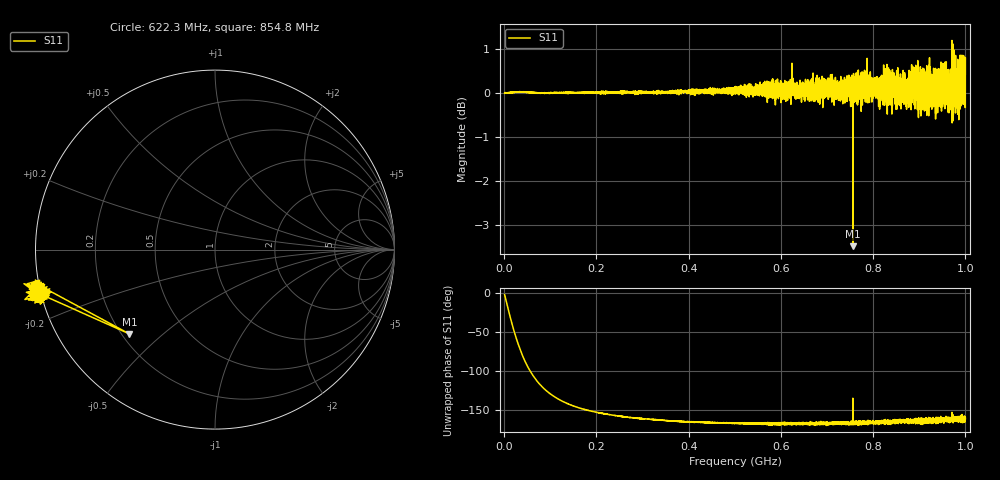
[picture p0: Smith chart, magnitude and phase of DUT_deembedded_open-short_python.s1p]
! ListType=Lin
!Created with skrf (http://scikit-rf.org).
# MHz S RI R 50.0
!freq ReS11 ImS11
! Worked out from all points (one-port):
!   8001 points, 1 MHz to 1 GHz, reference 50 ohm
!   lowest |S11| = -3.5 dB at 756 MHz (marker M1), VSWR 5.05, Z = 11.5 - j19.6 ohm
!   |S11| at or under -10 dB: nowhere
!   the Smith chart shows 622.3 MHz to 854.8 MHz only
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1  0.9993 -0.0427
4.4965  0.9818 -0.1902
10.24075  0.9092 -0.4177
15.985  0.7922 -0.6123
21.4795  0.6535 -0.7592
29.971  0.4201 -0.9097
39.33662  0.173 -0.9878
47.07887  -0.00577 -1.002
56.56938  -0.1871 -0.9846
65.68525  -0.3265 -0.947
75.30062  -0.4432 -0.8967
85.79013  -0.5424 -0.8409
97.77813  -0.6278 -0.7792
125.875  -0.7574 -0.6524
176.3245  -0.8678 -0.4957
250.75  -0.9311 -0.365
375.625  -0.971 -0.2595
500.5  -0.9912 -0.2254
625.375  -0.9795 -0.1979
750.25  -0.9923 -0.1988
755.9942  -0.477 -0.4698
875.125  -0.9853 -0.244
888.4866  -0.9967 -0.2526
923.7014  -0.9621 -0.2807
956.7932  -0.9751 -0.2602
983.5165  -1.028 -0.2646
995.005  -0.9823 -0.3522
1000  -1.042 -0.34
